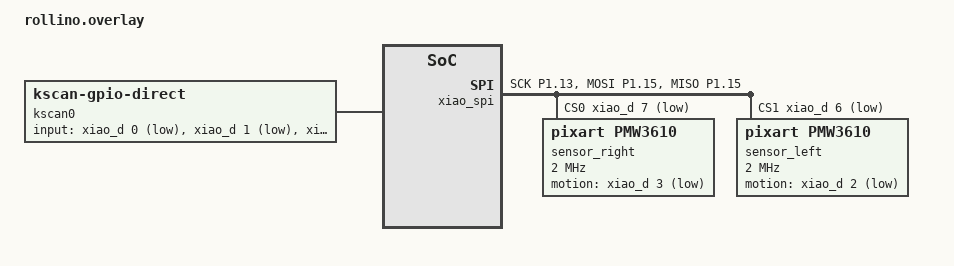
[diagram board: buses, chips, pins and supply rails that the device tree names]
/*
 * Rollino: two PMW3610 sensors on the XIAO's SPI bus, combined into pointer
 * motion and twist scrolling by rollino,ball-fusion.
 *
 * XIAO pins:
 *   D8  (P1.13)  SPI SCK            both sensors' SCLK
 *   D10 (P1.15)  SPI MOSI + MISO    both sensors' SDIO (3-wire: same pin)
 *   D7  (P1.12)  CS right sensor    NCS
 *   D6  (P1.11)  CS left sensor     NCS
 *   D3  (P0.29)  right sensor MOTION
 *   D2  (P0.28)  left sensor MOTION
 *   D0, D1, D9   optional buttons (left, right, middle click), to GND
 *   D4, D5       free
 */

#include <zephyr/dt-bindings/input/input-event-codes.h>

&pinctrl {
    spi2_default: spi2_default {
        group1 {
            psels = <NRF_PSEL(SPIM_SCK, 1, 13)>,
                <NRF_PSEL(SPIM_MOSI, 1, 15)>,
                <NRF_PSEL(SPIM_MISO, 1, 15)>;
        };
    };

    spi2_sleep: spi2_sleep {
        group1 {
            psels = <NRF_PSEL(SPIM_SCK, 1, 13)>,
                <NRF_PSEL(SPIM_MOSI, 1, 15)>,
                <NRF_PSEL(SPIM_MISO, 1, 15)>;
            low-power-enable;
        };
    };
};

&xiao_spi {
    status = "okay";
    compatible = "nordic,nrf-spim";
    pinctrl-0 = <&spi2_default>;
    pinctrl-1 = <&spi2_sleep>;
    pinctrl-names = "default", "sleep";
    cs-gpios = <&xiao_d 7 GPIO_ACTIVE_LOW>, <&xiao_d 6 GPIO_ACTIVE_LOW>;

    sensor_right: sensor@0 {
        compatible = "pixart,pmw3610";
        reg = <0>;
        spi-max-frequency = <2000000>;
        motion-gpios = <&xiao_d 3 (GPIO_ACTIVE_LOW | GPIO_PULL_UP)>;
        zephyr,axis-x = <INPUT_REL_X>;
        zephyr,axis-y = <INPUT_REL_Y>;
        res-cpi = <800>;
        smart-mode;
    };

    sensor_left: sensor@1 {
        compatible = "pixart,pmw3610";
        reg = <1>;
        spi-max-frequency = <2000000>;
        motion-gpios = <&xiao_d 2 (GPIO_ACTIVE_LOW | GPIO_PULL_UP)>;
        zephyr,axis-x = <INPUT_REL_X>;
        zephyr,axis-y = <INPUT_REL_Y>;
        res-cpi = <800>;
        smart-mode;
    };
};

/ {
    chosen {
        zmk,kscan = &kscan0;
    };

    /* optional buttons; with none fitted the pins just idle high */
    kscan0: kscan {
        compatible = "zmk,kscan-gpio-direct";
        wakeup-source;
        input-gpios
            = <&xiao_d 0 (GPIO_ACTIVE_LOW | GPIO_PULL_UP)>
            , <&xiao_d 1 (GPIO_ACTIVE_LOW | GPIO_PULL_UP)>
            , <&xiao_d 9 (GPIO_ACTIVE_LOW | GPIO_PULL_UP)>
            ;
    };

    /* sensor positions as in case/rollino.scad (its console echo prints
     * them): azimuth from the front, positive to the right, and elevation
     * above the ball's equator, in millidegrees */
    ball: ball_fusion {
        compatible = "rollino,ball-fusion";
        pointer-scale = <100>;
        scroll-divisor = <40>;
        twist-ratio = <150>;

        right {
            device = <&sensor_right>;
            azimuth = <129007>;
            elevation = <(-24500)>;
            rotation = <0>;
        };

        left {
            device = <&sensor_left>;
            azimuth = <(-129007)>;
            elevation = <(-24500)>;
            rotation = <0>;
        };
    };

    ball_listener {
        compatible = "zmk,input-listener";
        device = <&ball>;
    };
};
